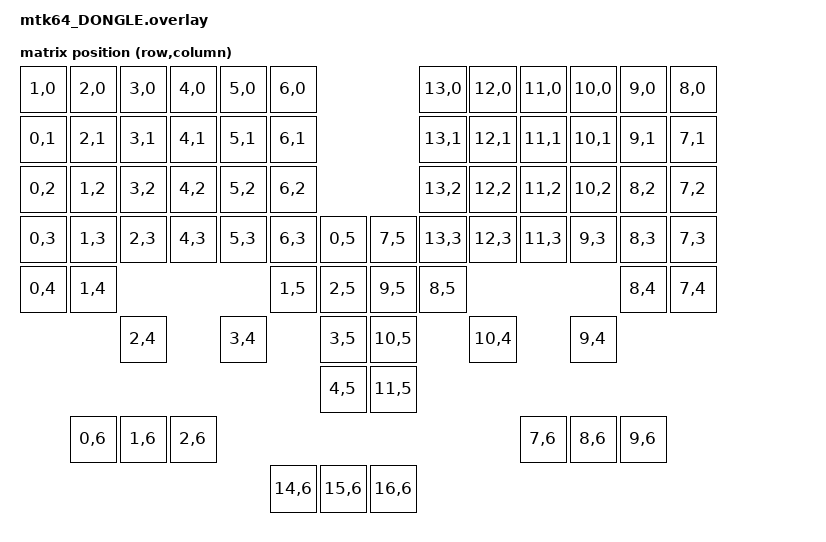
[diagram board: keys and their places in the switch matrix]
#include "mtk64.dtsi"
#include <dt-bindings/zmk/matrix_transform.h>

&physical_layout0 {
    transform = <&default_transform>;
};

/ {
    chosen {
        zmk,kscan = &mock_kscan;
        zmk,physical-layout = &physical_layout0;
    };

    mock_kscan: mock_kscan_0 {
        compatible = "zmk,kscan-mock";
        columns = <0>;
        rows = <0>;
        events = <0>;
    };

    default_transform: keymap_transform_0 {
        compatible = "zmk,matrix-transform";
        columns = <21>;
        rows = <7>;               

        map = <
        RC(1,0)  RC(2,0)  RC(3,0)  RC(4,0)  RC(5,0)  RC(6,0)                    RC(13,0)  RC(12,0) RC(11,0) RC(10,0) RC(9,0)  RC(8,0)  
        RC(0,1)  RC(2,1)  RC(3,1)  RC(4,1)  RC(5,1)  RC(6,1)                    RC(13,1)  RC(12,1) RC(11,1) RC(10,1) RC(9,1)  RC(7,1)  
        RC(0,2)  RC(1,2)  RC(3,2)  RC(4,2)  RC(5,2)  RC(6,2)                    RC(13,2)  RC(12,2) RC(11,2) RC(10,2) RC(8,2)  RC(7,2)  
        RC(0,3)  RC(1,3)  RC(2,3)  RC(4,3)  RC(5,3)  RC(6,3)  RC(0,5)  RC(7,5)  RC(13,3)  RC(12,3) RC(11,3) RC(9,3)  RC(8,3)  RC(7,3)  
        RC(0,4)  RC(1,4)                             RC(1,5)  RC(2,5)  RC(9,5)  RC(8,5)                              RC(8,4)  RC(7,4)  
                          RC(2,4)           RC(3,4)           RC(3,5)  RC(10,5)           RC(10,4)          RC(9,4)            
                                                              RC(4,5)  RC(11,5)                                
                 RC(0,6)  RC(1,6)  RC(2,6)                                                         RC(7,6)  RC(8,6)  RC(9,6)  
                                                         RC(14,6) RC(15,6) RC(16,6)  
             >;
    };
};

